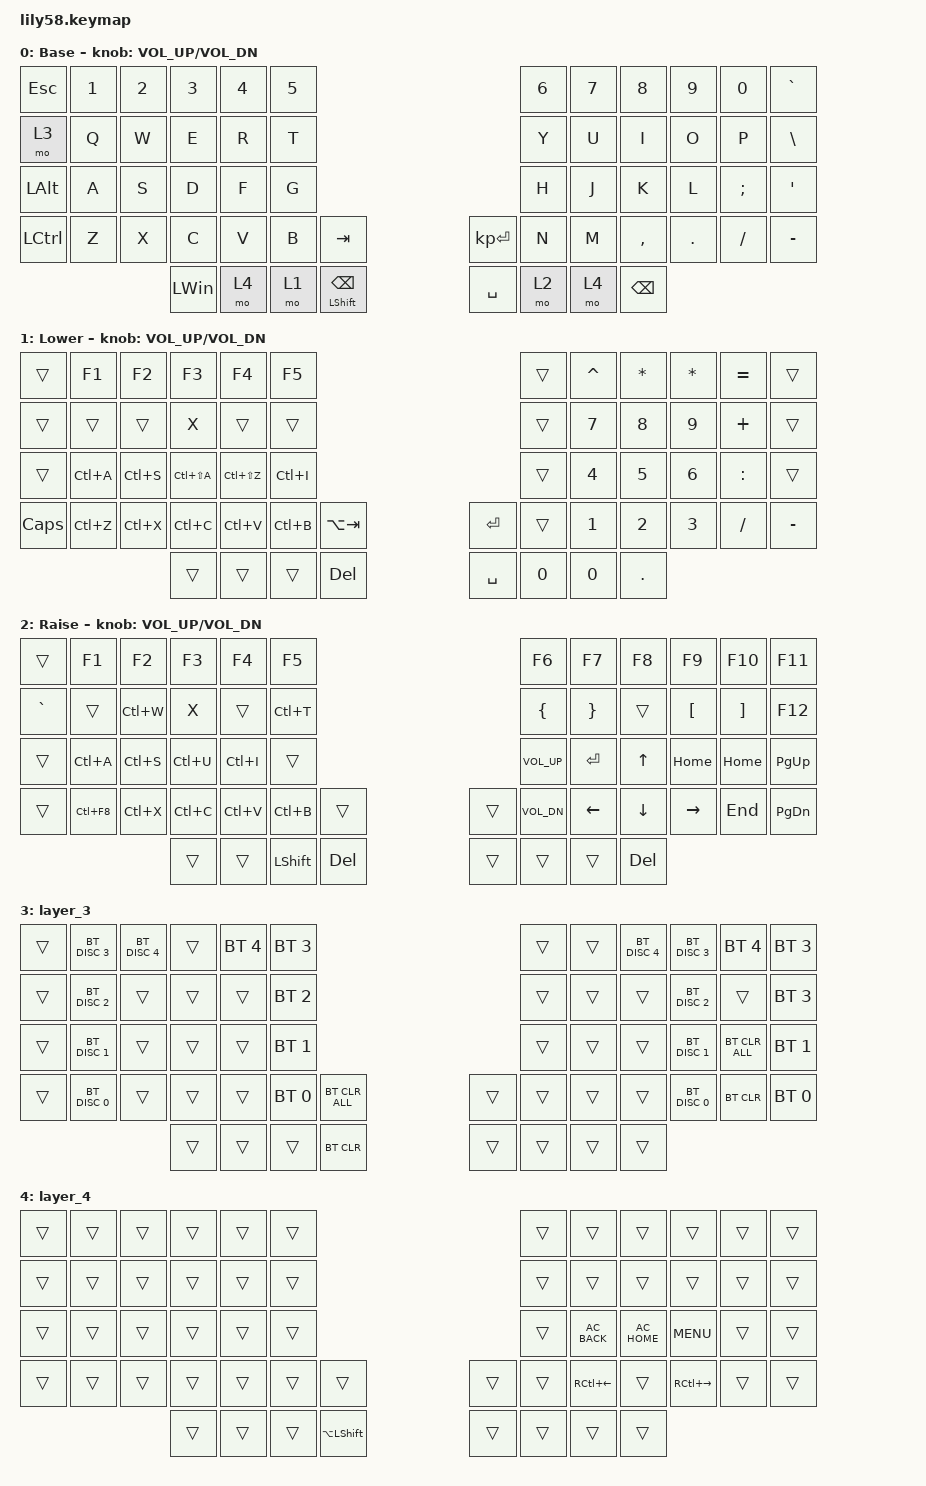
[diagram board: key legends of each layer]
/*
 * Copyright (c) 2020 The ZMK Contributors
 *
 * SPDX-License-Identifier: MIT
 */

#include <behaviors.dtsi>
#include <dt-bindings/zmk/bt.h>
#include <dt-bindings/zmk/keys.h>

/ {
    keymap {
        compatible = "zmk,keymap";

        default_layer {
            // ------------------------------------------------------------------------------------------------------------
            // |  ESC  |  1  |  2  |  3   |  4   |  5   |                   |  6   |  7    |  8    |  9   |   0   |   `   |
            // |  TAB  |  Q  |  W  |  E   |  R   |  T   |                   |  Y   |  U    |  I    |  O   |   P   |   -   |
            // |  CTRL |  A  |  S  |  D   |  F   |  G   |                   |  H   |  J    |  K    |  L   |   ;   |   '   |
            // | SHIFT |  Z  |  X  |  C   |  V   |  B   |   "["  |  |  "]"  |  N   |  M    |  ,    |  .   |   /   | SHIFT |
            //                     | ALT  | GUI  | LOWER|  SPACE |  | ENTER | RAISE| BSPC  | GUI   |

            display-name = "Base";
            bindings = <
&kp ESC       &kp N1  &kp N2  &kp N3        &kp N4  &kp N5                                            &kp N6  &kp N7  &kp N8         &kp N9   &kp N0    &kp GRAVE
&mo 3         &kp Q   &kp W   &kp E         &kp R   &kp T                                             &kp Y   &kp U   &kp I          &kp O    &kp P     &kp BACKSLASH
&kp LEFT_ALT  &kp A   &kp S   &kp D         &kp F   &kp G                                             &kp H   &kp J   &kp K          &kp L    &kp SEMI  &kp SQT
&kp LCTRL     &kp Z   &kp X   &kp C         &kp V   &kp B   &kp TAB                     &kp KP_ENTER  &kp N   &kp M   &kp COMMA      &kp DOT  &kp FSLH  &kp MINUS
                              &kp LEFT_WIN  &mo 4   &mo 1   &mt LEFT_SHIFT BACKSPACE    &kp SPACE     &mo 2   &mo 4   &kp BACKSPACE
            >;

            sensor-bindings = <&inc_dec_kp C_VOL_UP C_VOL_DN>;
        };

        lower_layer {
            // ------------------------------------------------------------------------------------------------------------
            // | BTCLR | BT1 | BT2 |  BT3 |  BT4 |  BT5 |                   |      |       |       |      |       |       |
            // |  F1   |  F2 |  F3 |  F4  |  F5  |  F6  |                   |  F7  |  F8   |  F9   |  F10 |  F11  |  F12  |
            // |   `   |  !  |  @  |  #   |  $   |  %   |                   |  ^   |  &    |  *    |  (   |   )   |   ~   |
            // |       |     |     |      |      |      |        |  |       |      |  _    |  +    |  {   |   }   |  "|"  |
            //                     |      |      |      |        |  |       |      |       |       |

            display-name = "Lower";
            bindings = <
&trans    &kp F1     &kp F2     &kp F3         &kp F4         &kp F5                               &trans        &kp CARET     &kp ASTERISK  &kp ASTERISK  &kp EQUAL  &trans
&trans    &trans     &trans     &kp X          &trans         &trans                               &trans        &kp N7        &kp N8        &kp N9        &kp PLUS   &trans
&trans    &kp LC(A)  &kp LC(S)  &kp LC(LS(A))  &kp LC(LS(Z))  &kp LC(I)                            &trans        &kp NUMBER_4  &kp N5        &kp NUMBER_6  &kp COLON  &trans
&kp CAPS  &kp LC(Z)  &kp LC(X)  &kp LC(C)      &kp LC(V)      &kp LC(B)  &kp LA(TAB)    &kp ENTER  &trans        &kp N1        &kp NUMBER_2  &kp NUMBER_3  &kp SLASH  &kp MINUS
                                &trans         &trans         &trans     &kp DEL        &kp SPACE  &kp NUMBER_0  &kp N0        &kp PERIOD
            >;

            sensor-bindings = <&inc_dec_kp C_VOL_UP C_VOL_DN>;
        };

        raise_layer {
            // ------------------------------------------------------------------------------------------------------------
            // |       |     |     |      |      |      |                   |      |       |       |      |       |       |
            // |   `   |  1  |  2  |  3   |  4   |  5   |                   |  6   |   7   |   8   |  9   |   0   |       |
            // |   F1  |  F2 |  F3 |  F4  |  F5  |  F6  |                   |      |   <-  |   v   |  ^   |  ->   |       |
            // |   F7  |  F8 |  F9 |  F10 |  F11 |  F12 |        |  |       |  +   |   -   |   =   |  [   |   ]   |   \   |
            //                     |      |      |      |        |  |       |      |       |       |

            display-name = "Raise";
            bindings = <
&trans     &kp F1      &kp F2     &kp F3     &kp F4     &kp F5                                &kp F6           &kp F7           &kp F8          &kp F9            &kp F10            &kp F11
&kp GRAVE  &trans      &kp LC(W)  &kp X      &trans     &kp LC(T)                             &kp LEFT_BRACE   &kp RIGHT_BRACE  &trans          &kp LEFT_BRACKET  &kp RIGHT_BRACKET  &kp F12
&trans     &kp LC(A)   &kp LC(S)  &kp LC(U)  &kp LC(I)  &trans                                &kp C_VOLUME_UP  &kp ENTER        &kp UP_ARROW    &kp HOME          &kp HOME           &kp PG_UP
&trans     &kp LC(F8)  &kp LC(X)  &kp LC(C)  &kp LC(V)  &kp LC(B)       &trans        &trans  &kp C_VOL_DN     &kp LEFT_ARROW   &kp DOWN_ARROW  &kp RIGHT         &kp END            &kp PG_DN
                                  &trans     &trans     &kp LEFT_SHIFT  &kp DELETE    &trans  &trans           &trans           &kp DELETE
            >;

            sensor-bindings = <&inc_dec_kp C_VOL_UP C_VOL_DN>;
        };

        layer_3 {
            bindings = <
&trans  &bt BT_DISC 3  &bt BT_DISC 4  &trans  &bt BT_SEL 4  &bt BT_SEL 3                            &trans  &trans  &bt BT_DISC 4  &bt BT_DISC 3  &bt BT_SEL 4    &bt BT_SEL 3
&trans  &bt BT_DISC 2  &trans         &trans  &trans        &bt BT_SEL 2                            &trans  &trans  &trans         &bt BT_DISC 2  &trans          &bt BT_SEL 3
&trans  &bt BT_DISC 1  &trans         &trans  &trans        &bt BT_SEL 1                            &trans  &trans  &trans         &bt BT_DISC 1  &bt BT_CLR_ALL  &bt BT_SEL 1
&trans  &bt BT_DISC 0  &trans         &trans  &trans        &bt BT_SEL 0  &bt BT_CLR_ALL    &trans  &trans  &trans  &trans         &bt BT_DISC 0  &bt BT_CLR      &bt BT_SEL 0
                                      &trans  &trans        &trans        &bt BT_CLR        &trans  &trans  &trans  &trans
            >;
        };

        layer_4 {
            bindings = <
&trans  &trans  &trans  &trans  &trans  &trans                                &trans  &trans              &trans         &trans               &trans  &trans
&trans  &trans  &trans  &trans  &trans  &trans                                &trans  &trans              &trans         &trans               &trans  &trans
&trans  &trans  &trans  &trans  &trans  &trans                                &trans  &kp C_AC_BACK       &kp C_AC_HOME  &kp C_MENU           &trans  &trans
&trans  &trans  &trans  &trans  &trans  &trans  &trans                &trans  &trans  &kp RC(LEFT_ARROW)  &trans         &kp RC(RIGHT_ARROW)  &trans  &trans
                        &trans  &trans  &trans  &kp LA(LEFT_SHIFT)    &trans  &trans  &trans              &trans
            >;
        };
    };
};
